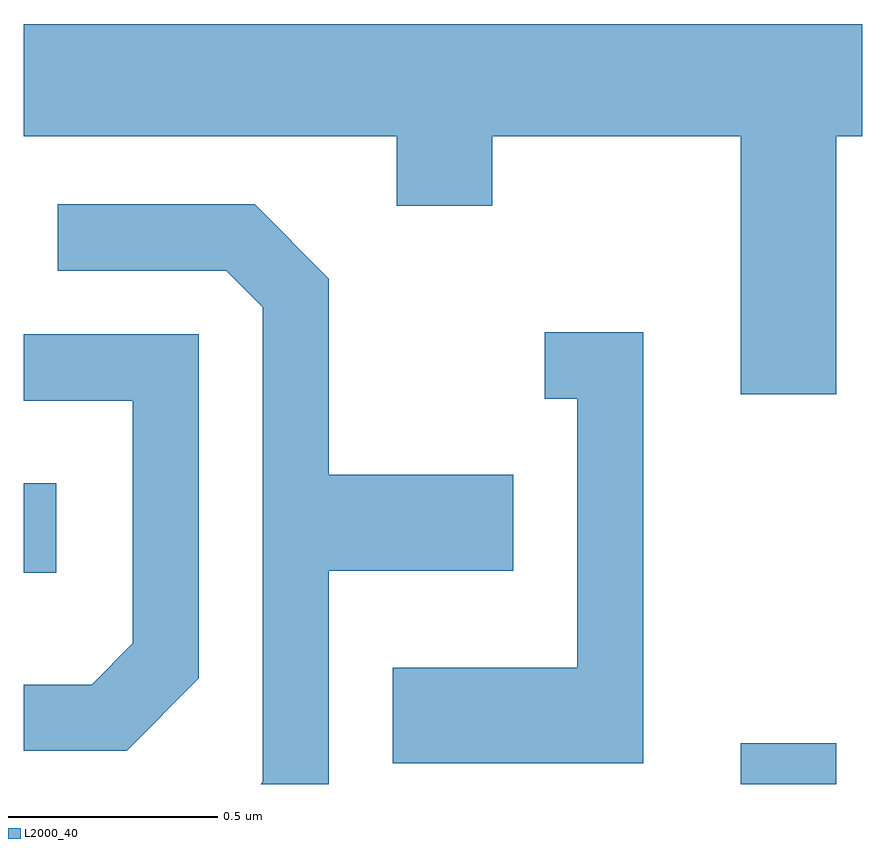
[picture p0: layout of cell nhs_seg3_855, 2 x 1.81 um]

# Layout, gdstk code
import gdstk
lib = gdstk.Library(unit=1e-6, precision=1e-09)
def R(c, l, rs):  # rectangles x0, y0, x1, y1
    for r in rs: c.add(gdstk.rectangle(r[:2], r[2:], *l))
def P(c, l, *ps):  # polygons
    for p in ps: c.add(gdstk.Polygon(p, *l))
L2000_40 = (2000, 40)

nhs_seg3_855 = lib.new_cell('nhs_seg3_855')
R(nhs_seg3_855, L2000_40, [(193.321,1148.892,193.549,1148.989), (191.611,1149.396,191.689,1149.609)])
P(nhs_seg3_855, L2000_40, [(193.549,1150.436),(193.611,1150.436),(193.611,1150.704),(191.611,1150.704),(191.611,1150.436),(192.501,1150.436),(192.501,1150.271),(192.729,1150.271),(192.729,1150.436),(193.321,1150.436),(193.321,1149.821),(193.549,1149.821)],
  [(192.339,1149.401),(192.779,1149.401),(192.779,1149.629),(192.339,1149.629),(192.339,1150.097),(192.162,1150.274),(191.693,1150.274),(191.693,1150.116),(192.094,1150.116),(192.181,1150.029),(192.181,1148.897),(192.176,1148.892),(192.339,1148.892)],
  [(193.089,1149.969),(192.853,1149.969),(192.853,1149.811),(192.931,1149.811),(192.931,1149.169),(192.491,1149.169),(192.491,1148.941),(193.089,1148.941)],
  [(192.029,1149.144),(192.029,1149.964),(191.611,1149.964),(191.611,1149.806),(191.871,1149.806),(191.871,1149.227),(191.774,1149.129),(191.611,1149.129),(191.611,1148.971),(191.857,1148.971)])

lib.write_gds('nhs_seg3_855.gds')
